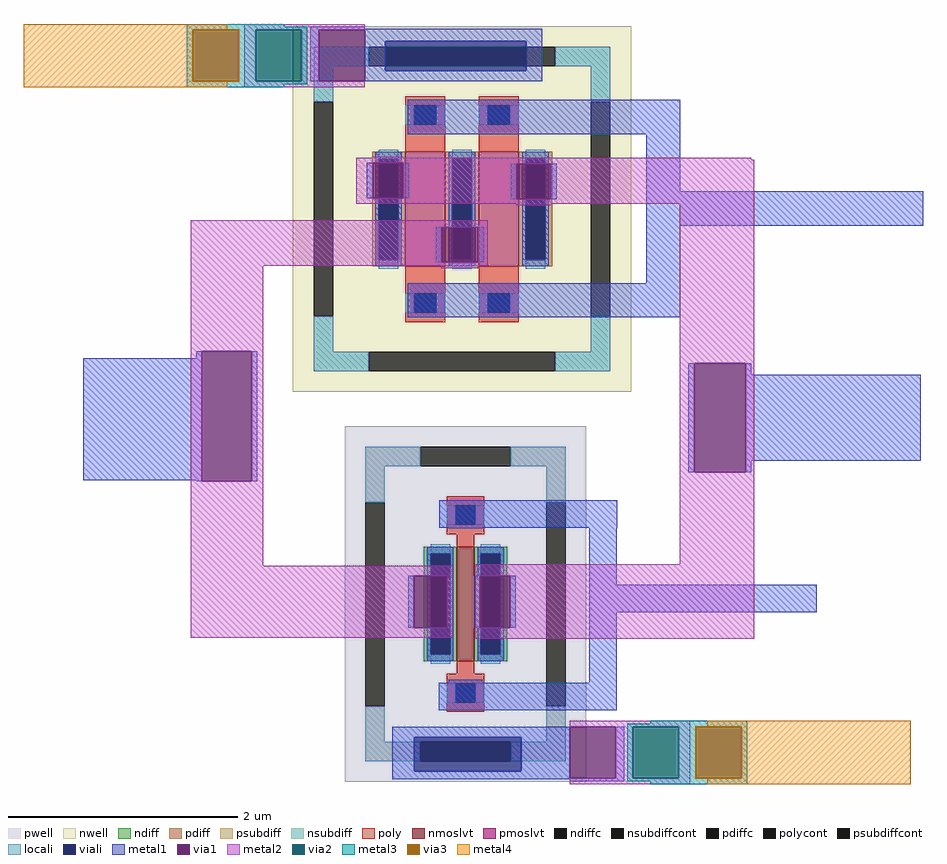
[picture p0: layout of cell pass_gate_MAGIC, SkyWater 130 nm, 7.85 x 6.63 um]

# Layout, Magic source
magic
tech sky130A
magscale 1 2
<< viali >>
rect 471 1040 717 1092
rect 522 -182 708 -122
<< metal1 >>
rect 340 1114 435 1117
rect 340 1112 745 1114
rect 340 1022 355 1112
rect 435 1092 745 1112
rect 435 1040 471 1092
rect 717 1040 745 1092
rect 435 1022 745 1040
rect 510 930 986 990
rect 439 818 449 880
rect 502 818 512 880
rect 690 816 700 878
rect 760 816 770 878
rect 926 830 986 930
rect 926 770 1410 830
rect 559 706 569 767
rect 633 706 643 767
rect 926 670 986 770
rect 510 610 986 670
rect 141 539 151 551
rect -56 326 151 539
rect 141 324 151 326
rect 238 324 248 551
rect 1000 340 1010 530
rect 1100 510 1110 530
rect 1100 360 1405 510
rect 1100 340 1110 360
rect 565 243 876 291
rect 511 69 521 159
rect 579 69 589 159
rect 626 69 636 159
rect 689 69 699 159
rect 827 144 875 243
rect 827 96 1224 144
rect 827 -27 875 96
rect 564 -75 875 -27
rect 483 -122 793 -104
rect 483 -182 522 -122
rect 708 -182 793 -122
rect 483 -194 793 -182
rect 873 -194 888 -104
rect 483 -196 888 -194
rect 793 -199 888 -196
<< via1 >>
rect 355 1022 435 1112
rect 449 818 502 880
rect 700 816 760 878
rect 569 706 633 767
rect 151 324 238 551
rect 1010 340 1100 530
rect 521 69 579 159
rect 636 69 689 159
rect 793 -194 873 -104
<< metal2 >>
rect 225 1112 435 1122
rect 225 1022 245 1112
rect 325 1022 355 1112
rect 225 1012 435 1022
rect 449 889 502 890
rect 420 885 1110 889
rect 420 880 1115 885
rect 420 818 449 880
rect 502 878 1115 880
rect 502 818 700 878
rect 420 816 700 818
rect 760 816 1115 878
rect 420 808 1115 816
rect 700 806 760 808
rect 132 767 650 780
rect 132 706 569 767
rect 633 706 650 767
rect 132 700 650 706
rect 132 551 258 700
rect 569 696 633 700
rect 132 324 151 551
rect 238 324 258 551
rect 132 177 258 324
rect 985 530 1115 808
rect 985 340 1010 530
rect 1100 340 1115 530
rect 985 179 1115 340
rect 132 159 589 177
rect 132 69 521 159
rect 579 69 589 159
rect 132 51 589 69
rect 628 159 1115 179
rect 628 69 636 159
rect 689 69 1115 159
rect 628 49 1115 69
rect 793 -104 1003 -94
rect 873 -194 903 -104
rect 983 -194 1003 -104
rect 793 -204 1003 -194
<< via2 >>
rect 245 1022 325 1112
rect 903 -194 983 -104
<< metal3 >>
rect 125 1117 295 1122
rect 125 1112 335 1117
rect 125 1022 135 1112
rect 215 1022 245 1112
rect 325 1022 335 1112
rect 125 1017 335 1022
rect 125 1012 295 1017
rect 933 -99 1103 -94
rect 893 -104 1103 -99
rect 893 -194 903 -104
rect 983 -194 1013 -104
rect 1093 -194 1103 -104
rect 893 -199 1103 -194
rect 933 -204 1103 -199
<< via3 >>
rect 135 1022 215 1112
rect 1013 -194 1093 -104
<< metal4 >>
rect -160 1113 195 1122
rect -160 1112 216 1113
rect -160 1022 135 1112
rect 215 1022 216 1112
rect -160 1021 216 1022
rect -160 1012 195 1021
rect 1033 -103 1388 -94
rect 1012 -104 1388 -103
rect 1012 -194 1013 -104
rect 1093 -194 1388 -104
rect 1012 -195 1388 -194
rect 1033 -204 1388 -195
use sky130_fd_pr__nfet_01v8_lvt_648S5X  XM11
transform -1 0 611 0 -1 110
box -211 -310 211 310
use sky130_fd_pr__pfet_01v8_lvt_4Q3NH3  XM23
transform -1 0 605 0 -1 799
box -295 -319 295 319
<< end >>

# cell sky130_fd_pr__nfet_01v8_lvt_648S5X: kit device sky130_fd_pr__nfet_01v8_lvt, w 1.0 l 0.15 m 1 nf 1 diffcov 100 polycov 100 guard 1 glc 1 grc 1 gtc 1 gbc 1 tbcov 100 rlcov 100 topc 1 botc 1 poverlap 0 doverlap 1 lmin 0.15 wmin 0.42 compatible {sky130_fd_pr__nfet_01v8 sky130_fd_pr__nfet_01v8_lvt sky130_fd_bs_flash__special_sonosfet_star sky130_fd_pr__nfet_g5v0d10v5 sky130_fd_pr__nfet_05v0_nvt sky130_fd_pr__nfet_03v3_nvt} full_metal 1 viasrc 100 viadrn 100 viagate 100 viagb 0 viagr 0 viagl 0 viagt 0

# cell sky130_fd_pr__pfet_01v8_lvt_4Q3NH3: kit device sky130_fd_pr__pfet_01v8_lvt, w 1.0 l 0.35 m 1 nf 2 diffcov 100 polycov 100 guard 1 glc 1 grc 1 gtc 1 gbc 1 tbcov 100 rlcov 100 topc 1 botc 1 poverlap 0 doverlap 1 lmin 0.35 wmin 0.42 compatible {sky130_fd_pr__pfet_01v8 sky130_fd_pr__pfet_01v8_lvt sky130_fd_pr__pfet_01v8_hvt sky130_fd_pr__pfet_g5v0d10v5} full_metal 1 viasrc 100 viadrn 100 viagate 100 viagb 0 viagr 0 viagl 0 viagt 0
